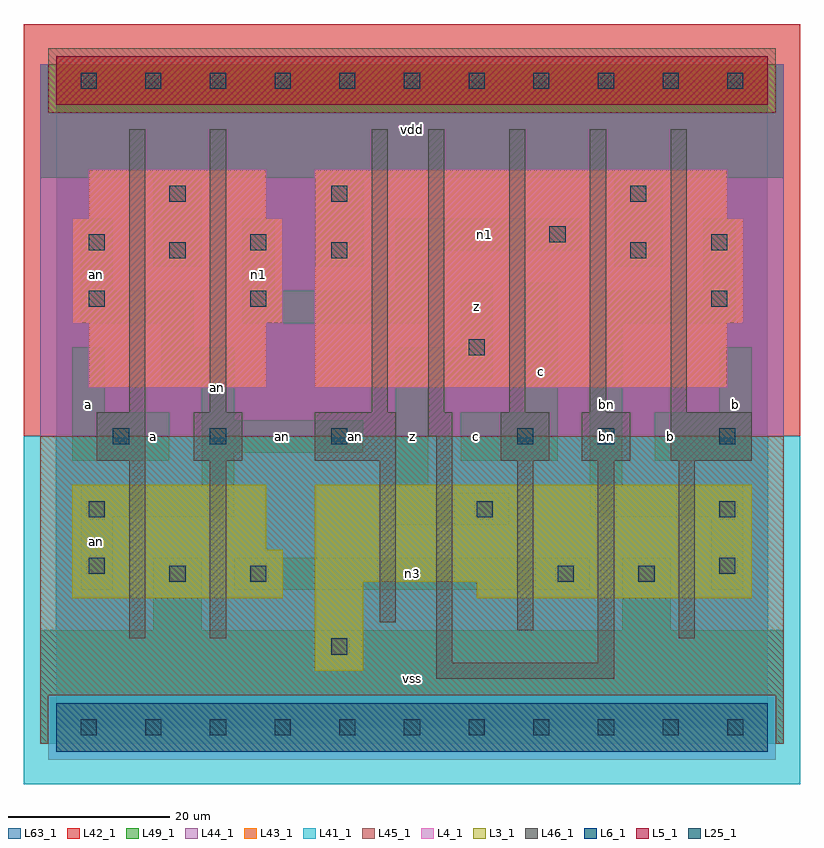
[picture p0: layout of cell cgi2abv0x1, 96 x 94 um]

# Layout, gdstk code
import gdstk
lib = gdstk.Library(unit=1e-6, precision=1e-09)
def R(c, l, rs):  # rectangles x0, y0, x1, y1
    for r in rs: c.add(gdstk.rectangle(r[:2], r[2:], *l))
def A(c, l, x, y, w, h, nx, ny, dx, dy):  # array of equal rectangles
    R(c, l, [(x+i*dx, y+j*dy, x+i*dx+w, y+j*dy+h) for i in range(nx) for j in range(ny)])
L3_1 = (3, 1)
L4_1 = (4, 1)
L5_1 = (5, 1)
L6_1 = (6, 1)
L25_1 = (25, 1)
L41_1 = (41, 1)
L42_1 = (42, 1)
L43_1 = (43, 1)
L44_1 = (44, 1)
L45_1 = (45, 1)
L46_1 = (46, 1)
L49_1 = (49, 1)
L63_1 = (63, 1)

cgi2abv0x1 = lib.new_cell('cgi2abv0x1')
R(cgi2abv0x1, L3_1, [(32,7,38,18), (2,16,28,22), (52,16,86,18), (32,18,86,30), (2,22,26,30)])
R(cgi2abv0x1, L4_1, [(4,42,26,50), (32,42,83,50), (2,50,28,63), (32,50,85,63), (4,63,26,69), (32,63,83,69)])
R(cgi2abv0x1, L5_1, [(0,77,88,83)])
R(cgi2abv0x1, L6_1, [(0,-3,88,3), (0,-3,88,3)])
A(cgi2abv0x1, L25_1, 3, -1, 2, 2, 11, 2, 8, 80)
R(cgi2abv0x1, L25_1, [(34,9,36,11), (14,18,16,20), (24,18,26,20), (62,18,64,20), (72,18,74,20), (4,19,6,21), (82,19,84,21), (4,26,6,28), (52,26,54,28), (82,26,84,28), (7,35,9,37), (19,35,21,37), (34,35,36,37), (57,35,59,37), (67,35,69,37), (82,35,84,37), (51,46,53,48), (4,52,6,54), (24,52,26,54), (81,52,83,54), (14,58,16,60), (34,58,36,60), (71,58,73,60), (4,59,6,61), (24,59,26,61), (81,59,83,61), (61,60,63,62), (14,65,16,67), (34,65,36,67), (71,65,73,67)])
R(cgi2abv0x1, L41_1, [(-4,-7,92,36)])
R(cgi2abv0x1, L42_1, [(-4,36,92,87)])
R(cgi2abv0x1, L43_1, [(0,-3,88,3), (32,7,38,18), (2,16,28,22), (52,16,86,18), (32,18,86,30), (2,22,26,30), (4,42,26,50), (32,42,83,50), (2,50,28,63), (32,50,85,63), (4,63,26,69), (32,63,83,69), (0,77,88,83)])
R(cgi2abv0x1, L44_1, [(-1,-4,89,4), (-2,36,90,76), (-2,76,-1,82), (89,76,90,82)])
R(cgi2abv0x1, L45_1, [(-2,-2,-1,4), (89,-2,90,4), (-2,4,90,36), (-1,76,89,84)])
A(cgi2abv0x1, L46_1, 46, 39, 2, 35, 4, 1, 10, 0)
R(cgi2abv0x1, L46_1, [(47,6,69,8), (47,8,49,36), (67,8,69,33), (9,11,11,33), (19,11,21,33), (77,11,79,33), (57,12,59,33), (40,13,42,33), (5,33,11,39), (17,33,23,39), (32,33,42,39), (55,33,61,39), (65,33,71,39), (76,33,86,39), (46,36,49,39), (9,39,11,74), (19,39,21,74), (39,39,41,74)])
R(cgi2abv0x1, L49_1, [(-2,-2,90,12), (12,12,18,21), (70,12,76,21), (3,17,7,26), (22,17,66,21), (81,17,85,26), (42,25,56,29), (3,26,22,30), (66,26,85,30), (42,29,46,43), (18,30,22,34), (66,30,70,50), (2,33,14,39), (50,33,62,39), (74,33,86,39), (18,34,38,38), (18,38,22,43), (2,39,6,47), (58,39,62,55), (82,39,86,47), (13,43,22,47), (42,43,54,47), (13,47,17,50), (50,47,54,55), (3,50,17,54), (23,50,46,54), (66,50,84,54), (3,54,7,63), (23,54,27,63), (42,54,46,59), (80,54,84,63), (12,57,18,68), (32,57,38,68), (69,57,75,68), (42,59,65,63), (-2,68,90,82)])
R(cgi2abv0x1, L63_1, [(0,0,88,80)])
cgi2abv0x1.add(gdstk.Label('an', (20,42), layer=46, texttype=1))
cgi2abv0x1.add(gdstk.Label('an', (37,36), layer=46, texttype=1))
cgi2abv0x1.add(gdstk.Label('bn', (68,36), layer=49, texttype=1))
cgi2abv0x1.add(gdstk.Label('an', (5,23), layer=49, texttype=1))
cgi2abv0x1.add(gdstk.Label('a', (4,40), layer=49, texttype=1))
cgi2abv0x1.add(gdstk.Label('a', (12,36), layer=49, texttype=1))
cgi2abv0x1.add(gdstk.Label('an', (5,56), layer=49, texttype=1))
cgi2abv0x1.add(gdstk.Label('n1', (25,56), layer=49, texttype=1))
cgi2abv0x1.add(gdstk.Label('vss', (44,6), layer=49, texttype=1))
cgi2abv0x1.add(gdstk.Label('an', (28,36), layer=49, texttype=1))
cgi2abv0x1.add(gdstk.Label('z', (44,36), layer=49, texttype=1))
cgi2abv0x1.add(gdstk.Label('vdd', (44,74), layer=49, texttype=1))
cgi2abv0x1.add(gdstk.Label('n3', (44,19), layer=49, texttype=1))
cgi2abv0x1.add(gdstk.Label('c', (52,36), layer=49, texttype=1))
cgi2abv0x1.add(gdstk.Label('c', (60,44), layer=49, texttype=1))
cgi2abv0x1.add(gdstk.Label('z', (52,52), layer=49, texttype=1))
cgi2abv0x1.add(gdstk.Label('bn', (68,40), layer=49, texttype=1))
cgi2abv0x1.add(gdstk.Label('n1', (53,61), layer=49, texttype=1))
cgi2abv0x1.add(gdstk.Label('b', (84,40), layer=49, texttype=1))
cgi2abv0x1.add(gdstk.Label('b', (76,36), layer=49, texttype=1))

lib.write_gds('cgi2abv0x1.gds')
